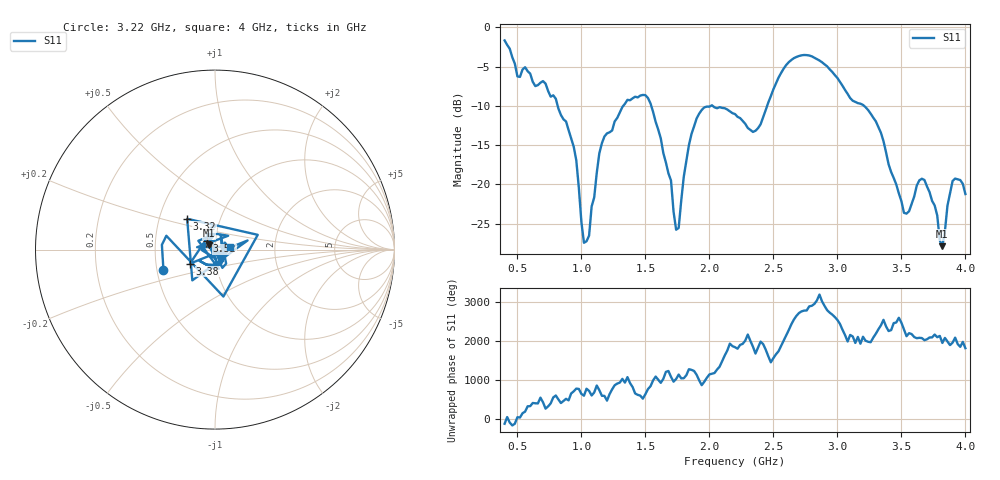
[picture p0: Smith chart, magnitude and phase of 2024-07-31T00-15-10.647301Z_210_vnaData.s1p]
!Created with skrf (http://scikit-rf.org).
# Hz S RI R 50.0
!freq ReS11 ImS11
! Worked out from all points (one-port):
!   181 points, 400 MHz to 4 GHz, reference 50 ohm
!   lowest |S11| = -27.9 dB at 3.82 GHz (marker M1), VSWR 1.08, Z = 46.7 + j2.16 ohm
!   |S11| at or under -10 dB: 814.4 MHz to 1.328 GHz (513.3 MHz wide, 47.9 % of centre); 1.546 GHz to 2.013 GHz (467.3 MHz wide, 26.3 % of centre); 3.208 GHz to end of sweep (the widest 3 of 4)
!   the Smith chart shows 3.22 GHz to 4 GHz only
!   S11 on the Smith chart (normalised r, x): 3.22 GHz: 0.54, -0.14; 3.32 GHz: 0.69, +0.25; 3.38 GHz: 0.75, -0.12; 3.52 GHz: 0.91, +0.09; 4 GHz: 1.19, +0.04
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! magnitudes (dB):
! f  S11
! 400 MHz  -1.7
! 500 MHz  -6.3
! 700 MHz  -6.9
! 860 MHz  -11.7
! 960 MHz  -16.9
! 1.02 GHz  -27.4
! 1.06 GHz  -26.5
! 1.16 GHz  -14.8
! 1.3 GHz  -10.9
! 1.52 GHz  -9.0
! 1.7 GHz  -19.5
! 1.76 GHz  -25.6
! 1.82 GHz  -17.0
! 1.9 GHz  -11.6
! 2.2 GHz  -11.1
! 2.36 GHz  -13.2
! 2.66 GHz  -3.9
! 2.88 GHz  -4.5
! 3.1 GHz  -9.0
! 3.22 GHz  -10.2
! 3.32 GHz  -12.7
! 3.38 GHz  -15.9
! 3.52 GHz  -23.6
! 3.56 GHz  -23.4
! 3.68 GHz  -19.5
! 3.82 GHz  -27.9
! 3.9 GHz  -19.6
! 4 GHz  -21.2
